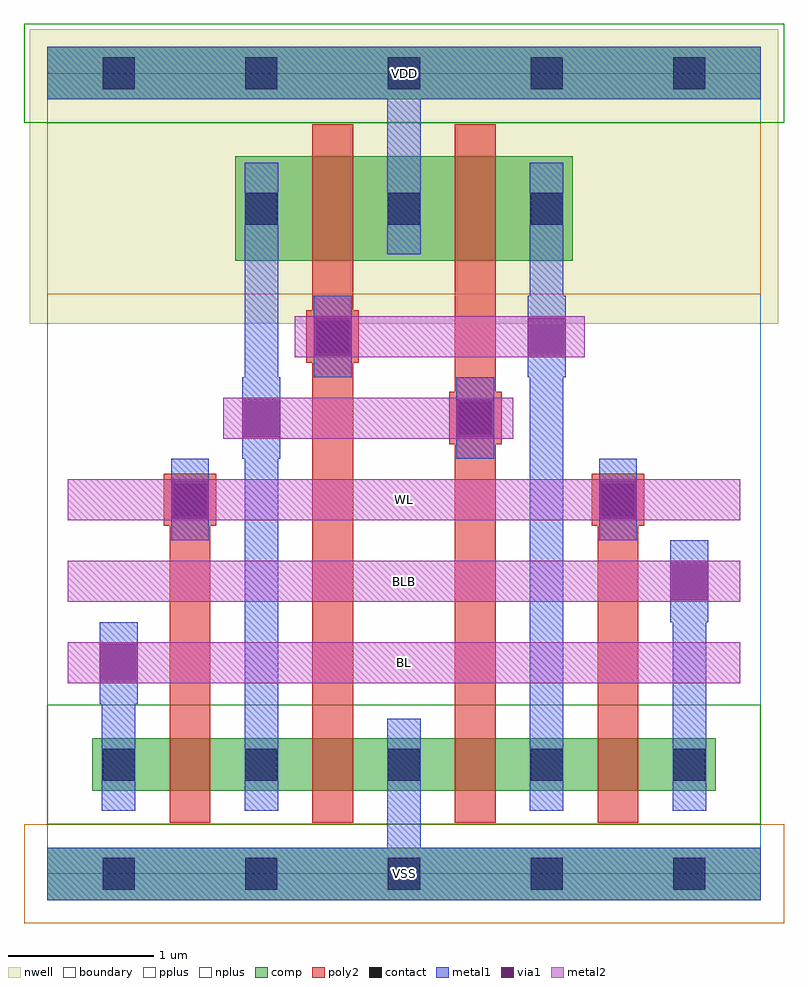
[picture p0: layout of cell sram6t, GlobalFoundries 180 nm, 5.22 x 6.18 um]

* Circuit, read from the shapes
.subckt sram6t BL BLB VDD VSS WL
XM1 n1 WL BL VSS nfet_03v3 w=0.36u l=0.28u
XM2 VSS n2 n1 VSS nfet_03v3 w=0.36u l=0.28u
XM3 n2 n1 VSS VSS nfet_03v3 w=0.36u l=0.28u
XM4 BLB WL n2 VSS nfet_03v3 w=0.36u l=0.28u
XM5 VDD n2 n1 VDD pfet_03v3 w=0.72u l=0.28u
XM6 n2 n1 VDD VDD pfet_03v3 w=0.72u l=0.28u
.ends

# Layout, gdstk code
import gdstk
lib = gdstk.Library(unit=1e-6, precision=1e-09)
def R(c, l, rs):  # rectangles x0, y0, x1, y1
    for r in rs: c.add(gdstk.rectangle(r[:2], r[2:], *l))
def A(c, l, x, y, w, h, nx, ny, dx, dy):  # array of equal rectangles
    R(c, l, [(x+i*dx, y+j*dy, x+i*dx+w, y+j*dy+h) for i in range(nx) for j in range(ny)])
boundary = (0, 0)
nwell = (21, 0)
comp = (22, 0)
poly2 = (30, 0)
pplus = (31, 0)
nplus = (32, 0)
contact = (33, 0)
metal1 = (34, 0)
via1 = (35, 0)
metal2 = (36, 0)

sram6t = lib.new_cell('sram6t')
R(sram6t, boundary, [(0,0,4.9,5.5)])
R(sram6t, nwell, [(-0.12,3.78,5.02,5.8)])
R(sram6t, comp, [(0,-0.18,4.9,0.18), (0.31,0.57,4.59,0.93), (1.29,4.21,3.61,4.93), (0,5.32,4.9,5.68)])
A(sram6t, poly2, 0.84, 0.35, 0.28, 0.8, 4, 1, 0.98, 0)
R(sram6t, poly2, [(0.84,1.15,1.12,2.57), (1.82,1.15,2.1,3.99), (2.8,1.15,3.08,3.99), (3.78,1.15,4.06,2.57), (0.8,2.39,1.16,2.75), (3.74,2.39,4.1,2.75), (2.76,2.95,3.12,3.31), (1.78,3.51,2.14,3.87), (1.82,3.99,2.1,5.15), (2.8,3.99,3.08,5.15)])
R(sram6t, pplus, [(-0.16,-0.34,5.06,0.34), (0,3.98,4.9,5.16)])
R(sram6t, nplus, [(0,0.34,4.9,1.16), (-0.16,5.16,5.06,5.84)])
A(sram6t, contact, 0.38, -0.11, 0.22, 0.22, 5, 2, 0.98, 0.75)
A(sram6t, contact, 1.36, 4.46, 0.22, 0.22, 3, 1, 0.98, 0)
A(sram6t, contact, 0.38, 5.39, 0.22, 0.22, 5, 1, 0.98, 0)
R(sram6t, contact, [(0.87,2.46,1.09,2.68), (3.81,2.46,4.03,2.68), (2.83,3.02,3.05,3.24), (1.85,3.58,2.07,3.8)])
A(sram6t, metal1, 0.375, 0.435, 0.23, 0.63, 5, 1, 0.98, 0)
A(sram6t, metal1, 1.355, 4.255, 0.23, 0.63, 3, 1, 0.98, 0)
R(sram6t, metal1, [(0,-0.18,4.9,0.18), (2.335,0,2.565,0.435), (0.375,1.065,0.605,1.45), (1.355,1.065,1.585,3.13), (3.315,1.065,3.545,3.69), (4.295,1.065,4.525,2.01), (0.36,1.17,0.62,1.73), (4.28,1.73,4.54,2.29), (0.85,2.29,1.11,2.85), (3.79,2.29,4.05,2.85), (1.34,2.85,1.6,3.41), (1.34,2.85,1.6,3.41), (2.81,2.85,3.07,3.41), (1.355,3.13,1.585,4.255), (1.83,3.41,2.09,3.97), (3.3,3.41,3.56,3.97), (3.3,3.41,3.56,3.97), (3.315,3.69,3.545,4.255), (2.335,4.885,2.565,5.5), (0,5.32,4.9,5.68)])
R(sram6t, via1, [(0.36,1.32,0.62,1.58), (4.28,1.88,4.54,2.14), (0.85,2.44,1.11,2.7), (3.79,2.44,4.05,2.7), (1.34,3,1.6,3.26), (1.34,3,1.6,3.26), (2.81,3,3.07,3.26), (1.83,3.56,2.09,3.82), (3.3,3.56,3.56,3.82), (3.3,3.56,3.56,3.82)])
A(sram6t, metal2, 0.14, 1.31, 4.62, 0.28, 1, 3, 0, 0.56)
R(sram6t, metal2, [(0.23,1.31,0.75,1.59), (4.15,1.87,4.67,2.15), (0.72,2.43,1.24,2.71), (3.66,2.43,4.18,2.71), (1.21,2.99,1.73,3.27), (1.21,2.99,1.73,3.27), (1.47,2.99,2.94,3.27), (2.68,2.99,3.2,3.27), (1.7,3.55,2.22,3.83), (1.96,3.55,3.43,3.83), (3.17,3.55,3.69,3.83), (3.17,3.55,3.69,3.83)])
sram6t.add(gdstk.Label('VSS', (2.45,0), layer=34, texttype=10))
sram6t.add(gdstk.Label('VDD', (2.45,5.5), layer=34, texttype=10))
sram6t.add(gdstk.Label('BL', (2.45,1.45), layer=36, texttype=10))
sram6t.add(gdstk.Label('BLB', (2.45,2.01), layer=36, texttype=10))
sram6t.add(gdstk.Label('WL', (2.45,2.57), layer=36, texttype=10))

lib.write_gds('sram6t.gds')
